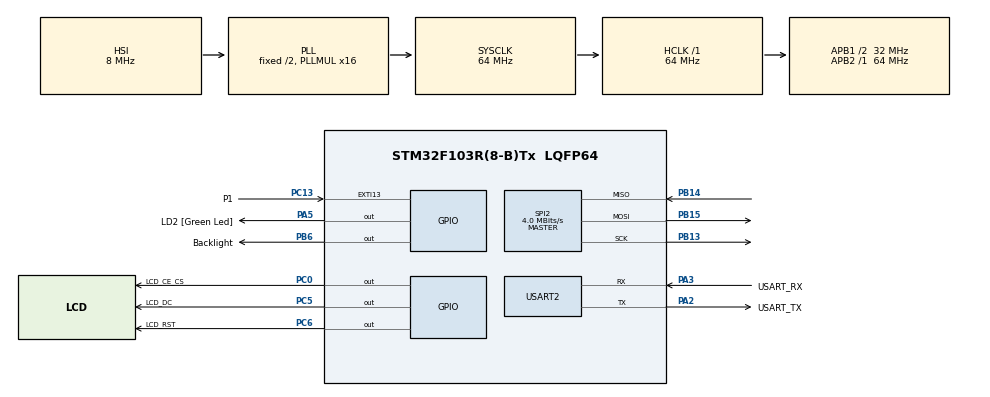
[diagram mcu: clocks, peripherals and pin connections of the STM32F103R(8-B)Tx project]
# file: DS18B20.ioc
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Mcu.Family=STM32F1
Mcu.Name=STM32F103R(8-B)Tx
Mcu.Package=LQFP64
NVIC.EXTI15_10_IRQn=true\:0\:0\:false\:false\:true\:true\:true
NVIC.PriorityGroup=NVIC_PRIORITYGROUP_4
PA13.GPIO_Label=TMS
PA13.Mode=Serial_Wire
PA13.Signal=SYS_JTMS-SWDIO
PA14.GPIO_Label=TCK
PA14.Mode=Serial_Wire
PA14.Signal=SYS_JTCK-SWCLK
PA2.GPIO_Label=USART_TX
PA2.GPIO_Mode=GPIO_MODE_AF_PP
PA2.GPIO_PuPd=GPIO_NOPULL
PA2.GPIO_Speed=GPIO_SPEED_FREQ_LOW
PA2.Mode=Asynchronous
PA2.Signal=USART2_TX
PA3.GPIO_Label=USART_RX
PA3.GPIO_Mode=GPIO_MODE_AF_PP
PA3.GPIO_PuPd=GPIO_NOPULL
PA3.GPIO_Speed=GPIO_SPEED_FREQ_LOW
PA3.Mode=Asynchronous
PA3.Signal=USART2_RX
PA5.GPIO_Label=LD2 [Green Led]
PA5.GPIO_ModeDefaultOutputPP=GPIO_MODE_OUTPUT_PP
PA5.GPIO_PuPd=GPIO_NOPULL
PA5.GPIO_Speed=GPIO_SPEED_FREQ_LOW
PA5.Signal=GPIO_Output
PB13.Mode=Full_Duplex_Master
PB13.Signal=SPI2_SCK
PB14.Mode=Full_Duplex_Master
PB14.Signal=SPI2_MISO
PB15.Mode=Full_Duplex_Master
PB15.Signal=SPI2_MOSI
PB3.GPIO_Label=SWO
PB3.Signal=SYS_JTDO-TRACESWO
PB4.GPIO_Label=DS18B20
PB4.Signal=S_TIM3_CH1
PB6.GPIO_Label=Backlight
PB6.GPIO_PuPd=GPIO_NOPULL
PB6.Signal=GPIO_Output
PC0.GPIO_Label=LCD_CE_CS
PC0.Signal=GPIO_Output
PC13-TAMPER-RTC.GPIO_Label=P1
PC13-TAMPER-RTC.GPIO_ModeDefaultEXTI=GPIO_MODE_IT_FALLING
PC13-TAMPER-RTC.Signal=GPXTI13
PC14-OSC32_IN.Mode=LSE-External-Oscillator
PC14-OSC32_IN.Signal=RCC_OSC32_IN
PC15-OSC32_OUT.Mode=LSE-External-Oscillator
PC15-OSC32_OUT.Signal=RCC_OSC32_OUT
PC5.GPIO_Label=LCD_DC
PC5.Signal=GPIO_Output
PC6.GPIO_Label=LCD_RST
PC6.Signal=GPIO_Output
PD0-OSC_IN.Mode=HSE-External-Clock-Source
PD0-OSC_IN.Signal=RCC_OSC_IN
PD1-OSC_OUT.Mode=HSE-External-Clock-Source
PD1-OSC_OUT.Signal=RCC_OSC_OUT
ProjectManager.HeapSize=0x200
ProjectManager.StackSize=0x400
ProjectManager.TargetToolchain=STM32CubeIDE
RCC.AHBFreq_Value=64000000
RCC.APB1CLKDivider=RCC_HCLK_DIV2
RCC.APB1Freq_Value=32000000
RCC.APB1TimFreq_Value=64000000
RCC.APB2Freq_Value=64000000
RCC.APB2TimFreq_Value=64000000
RCC.HCLKFreq_Value=64000000
RCC.PLLMUL=RCC_PLL_MUL16
RCC.RTCClockSelection=RCC_RTCCLKSOURCE_LSE
RCC.SYSCLKFreq_VALUE=64000000
RCC.SYSCLKSource=RCC_SYSCLKSOURCE_PLLCLK
RCC.USBFreq_Value=64000000
RTC.Date=27
RTC.Hours=12
RTC.Minutes=50
RTC.Month=RTC_MONTH_DECEMBER
RTC.WeekDay=RTC_WEEKDAY_SUNDAY
RTC.Year=20
SH.S_TIM3_CH1.0=TIM3_CH1
SPI2.BaudRatePrescaler=SPI_BAUDRATEPRESCALER_8
SPI2.CalculateBaudRate=4.0 MBits/s
SPI2.Direction=SPI_DIRECTION_2LINES
SPI2.Mode=SPI_MODE_MASTER
SPI2.VirtualType=VM_MASTER
TIM3.AutoReloadPreload=TIM_AUTORELOAD_PRELOAD_ENABLE
TIM3.Channel-Output\ Compare1\ No\ Output=TIM_CHANNEL_1
TIM3.Period=65535
TIM3.Prescaler=63
USART2.VirtualMode=VM_ASYNC
VP_RTC_No_RTC_Output.Mode=RTC_OUT_NO
VP_RTC_VS_RTC_Activate.Mode=RTC_Enabled
VP_RTC_VS_RTC_Calendar.Mode=RTC_Calendar
VP_TIM3_VS_no_output1.Mode=Output Compare1 No Output
board=NUCLEO-F103RB

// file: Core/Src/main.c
/* USER CODE BEGIN Header */
/**
  ******************************************************************************
  * @file           : main.c
  * @brief          : Main program body
  ******************************************************************************
  * @attention
  *
  * <h2><center>&copy; Copyright (c) 2020 STMicroelectronics.
  * All rights reserved.</center></h2>
  *
  * This software component is licensed by ST under BSD 3-Clause license,
  * the "License"; You may not use this file except in compliance with the
  * License. You may obtain a copy of the License at:
  *                        opensource.org/licenses/BSD-3-Clause
  *
  ******************************************************************************
  */
/* USER CODE END Header */
#include "main.h"
#include "rtc.h"
#include "spi.h"
#include "tim.h"
#include "usart.h"
#include "gpio.h"

/* USER CODE BEGIN Includes */
#include "ds18b20.h"
#include "onewire.h"
#include <stdio.h>
#include <string.h>
#include "spi.h"
#include "lcd.h"
#include "font.h"
/* USER CODE END Includes */

/* USER CODE BEGIN PV */
float temperature;
char komunikat[20];
char buffer[8];
char buffer2[] = "test";
int test_val = 7;
uint8_t DeinitDelay = 0;
uint8_t P1_flag = 0;

RTC_TimeTypeDef RtcTime;
RTC_DateTypeDef RtcDate;
uint8_t CompareSeconds;
char RtcPrint[20];
/* USER CODE END PV */

void SystemClock_Config(void);
/* USER CODE BEGIN PFP */
void lcd_reset(void)
{
	HAL_GPIO_WritePin(GPIOC, LCD_RST_Pin, GPIO_PIN_RESET);
	HAL_GPIO_WritePin(GPIOC, LCD_RST_Pin, GPIO_PIN_SET);
}

void lcd_data(const uint8_t* data, int size)
{
	HAL_GPIO_WritePin(GPIOC, LCD_DC_Pin, GPIO_PIN_SET);
	HAL_GPIO_WritePin(GPIOC, LCD_CE_CS_Pin, GPIO_PIN_RESET);
	HAL_SPI_Transmit(&hspi2, (uint8_t*)data, size, HAL_MAX_DELAY);
	HAL_GPIO_WritePin(GPIOC, LCD_CE_CS_Pin, GPIO_PIN_SET);
}

/* USER CODE END PFP */

int main(void)
{

  /* MCU Configuration--------------------------------------------------------*/

  /* Reset of all peripherals, Initializes the Flash interface and the Systick. */
  HAL_Init();

  /* Configure the system clock */
  SystemClock_Config();

  /* Initialize all configured peripherals */
  MX_GPIO_Init();
  MX_USART2_UART_Init();
  MX_TIM3_Init();
  MX_SPI2_Init();
  MX_RTC_Init();
  /* USER CODE BEGIN 2 */

  //-----------INICJALIZACJA PARAMETRÓW DS18B20-----------------
  DS18B20_Init(DS18B20_Resolution_12bits);	//rozdzielczość 10 bit (dokładność 0,25 C)
  HAL_Delay(1000);		//odczekaj po inicjalizacji czujnika temperatury - KONIECZNE!!!

//  lcd_cmd(0x80 | 0x3f); //Ustawienie kontrastu
/*============WYCI�?CIE 2===============================
 * ====================================================

  HAL_GPIO_WritePin(Backlight_GPIO_Port, Backlight_Pin, GPIO_PIN_SET);	//włączenie podświetlenia

  //----------------------------------------------
  //==============================================
  HAL_Delay(1000);		//odczekaj po inicjalizacji czujnika temperatury - KONIECZNE!!!
  DS18B20_ReadAll();	//odczytanie skonwertowanej temperatury do odpowiednich elementów w tablicy czujników
  DS18B20_StartAll();	//rozesłanie do wszystkich podłączonych czujników komendy startu konwersji temperatury
  uint8_t i;
  for (i=0; i < DS18B20_Quantity(); i++)
  {
	  if (DS18B20_GetTemperature(i, &temperature))

//		  DS18B20_Read(0, &temperature);	//nie działa

//		  DS18B20_GetROM(i, ROM_tmp);
//		  memset(komunikat, 0, sizeof(komunikat));
	  sprintf(komunikat, "Temp: %.2f \n\r", temperature);
	  lcd_draw_text(1,2, "Temp: ");

	  sprintf(buffer, "%.2f", temperature);
	  lcd_draw_text(1, 35, (uint8_t *)buffer);

	  lcd_draw_text(1, 68, "C");

	  HAL_RTC_GetTime(&hrtc, &RtcTime, RTC_FORMAT_BIN);
	  HAL_RTC_GetDate(&hrtc, &RtcDate, RTC_FORMAT_BIN);

	  if(RtcTime.Seconds != CompareSeconds)		//sprawia, że czas i data aktualizuje się na wyświetlaczu co sekundę
	  	  {
		  sprintf(RtcPrint, "%02d:%02d:%02d \n\r", RtcTime.Hours, RtcTime.Minutes, RtcTime.Seconds);
		  lcd_draw_text(3, 2, (uint8_t *)RtcPrint);
		  sprintf(RtcPrint, "%02d.%02d.20%02d\n\r", RtcDate.Date, RtcDate.Month, RtcDate.Year);
		  lcd_draw_text(4, 2, (uint8_t *)RtcPrint);
		  HAL_UART_Transmit(&huart2, (uint8_t*) RtcPrint, sizeof(RtcPrint), 1000);
		  CompareSeconds = RtcTime.Seconds;
	  	  }

//		  lcd_draw_text(2, 35, (uint8_t *)buffer2));		//wyświetla "test"
//	  }
	  lcd_copy();
	  HAL_UART_Transmit(&huart2, (uint8_t *)komunikat, sizeof(komunikat), 100);
	  HAL_UART_Transmit(&huart2, (uint8_t *)buffer2, sizeof(buffer2), 100);
	  HAL_Delay(10000);
	lcd_deinit();
	HAL_GPIO_WritePin(Backlight_GPIO_Port, Backlight_Pin, GPIO_PIN_RESET);	//wyłączenie podświetlenia
  }

//==============WYCI�?CIE 2=========================
//-----------------------------------------------*/

  /* USER CODE END 2 */

  /* Infinite loop */
  /* USER CODE BEGIN WHILE */
  while (1)
  {
	  lcd_setup();
	  lcd_clear();
	  DS18B20_ReadAll();	//odczytanie skonwertowanej temperatury do odpowiednich elementów w tablicy czujników
	  DS18B20_StartAll();	//rozesłanie do wszystkich podłączonych czujników komendy startu konwersji temperatury
	  HAL_Delay(1000);		//odczekaj po inicjalizacji czujnika temperatury - KONIECZNE!!!

		  while (P1_flag == 1)
		  {
			  HAL_GPIO_WritePin(Backlight_GPIO_Port, Backlight_Pin, GPIO_PIN_SET);	//włączenie podświetlenia

			  //----------------------------------------------
			  //==============================================

//			  P1_flag = 0;
			  uint8_t i;
			  HAL_RTC_GetTime(&hrtc, &RtcTime, RTC_FORMAT_BIN);
			  HAL_RTC_GetDate(&hrtc, &RtcDate, RTC_FORMAT_BIN);

			  if(RtcTime.Seconds != CompareSeconds)		//sprawia, że czas i data aktualizuje się na wyświetlaczu co sekundę
				  {
				  lcd_clear();
				  for (i=0; i < DS18B20_Quantity(); i++)
					  {
						  if (DS18B20_GetTemperature(i, &temperature))

					//		  DS18B20_Read(0, &temperature);	//nie działa

					//		  DS18B20_GetROM(i, ROM_tmp);
					//		  memset(komunikat, 0, sizeof(komunikat));
						  sprintf(komunikat, "Temp: %.2f ", temperature);
						  lcd_draw_text(1,2, "Temp: ");

						  sprintf(buffer, "%.2f", temperature);
						  lcd_draw_text(1, 35, (uint8_t *)buffer);

						  lcd_draw_text(1, 68, "C");
					  }

					sprintf(RtcPrint, "%02d:%02d:%02d ", RtcTime.Hours, RtcTime.Minutes, RtcTime.Seconds);
					lcd_draw_text(3, 2, (uint8_t *)RtcPrint);
					HAL_UART_Transmit(&huart2, (uint8_t *) RtcPrint, sizeof(RtcPrint), 100);
					sprintf(RtcPrint, "%02d.%02d.20%02d", RtcDate.Date, RtcDate.Month, RtcDate.Year);
					lcd_draw_text(5, 20, (uint8_t *)RtcPrint);
					HAL_UART_Transmit(&huart2, (uint8_t*) RtcPrint, sizeof(RtcPrint), 1000);

			//		  lcd_draw_text(2, 35, (uint8_t *)buffer2));		//wyświetla "test"
			//	  }
					  lcd_copy();
					  DeinitDelay++;
					  HAL_UART_Transmit(&huart2, (uint8_t *)komunikat, sizeof(komunikat), 100);
					  HAL_UART_Transmit(&huart2, (uint8_t *)buffer, sizeof(buffer), 100);
				  //HAL_Delay(10000);
					  if (DeinitDelay >10)
						  {
						  lcd_deinit();
						  HAL_GPIO_WritePin(Backlight_GPIO_Port, Backlight_Pin, GPIO_PIN_RESET);	//wyłączenie podświetlenia
						  DeinitDelay = 0;
						  P1_flag = 0;
						  }
				  	  CompareSeconds = RtcTime.Seconds;

				  }

			  }

	  }

/*	-------WYCI�?CIE 1-------------
	  DS18B20_ReadAll();	//odczytanie skonwertowanej temperatury do odpowiednich elementów w tablicy czujników
	  DS18B20_StartAll();	//rozesłanie do wszystkich podłączonych czujników komendy startu konwersji temperatury
	  uint8_t i;
	  for (i=0; i < DS18B20_Quantity(); i++)
      {
		  if (DS18B20_GetTemperature(i, &temperature))
		  {
//		  DS18B20_GetROM(i, ROM_tmp);
//		  memset(komunikat, 0, sizeof(komunikat));
		  sprintf(komunikat, "Temp: %.2f \n\r", temperature);
		  lcd_draw_text(2,2, "Temp: ");

		  sprintf(buffer, "%.2f", temperature);
		  lcd_draw_text(2, 35, (uint8_t *)buffer);

		  lcd_draw_text(2, 68, "C");

//		  lcd_draw_text(2, 35, (uint8_t *)buffer2));		//wyświetla "test"
		  }
		  lcd_copy();
		  HAL_UART_Transmit(&huart2, (uint8_t *)komunikat, sizeof(komunikat), 100);
		  HAL_UART_Transmit(&huart2, (uint8_t *)buffer2, sizeof(buffer2), 100);
		  HAL_Delay(1000);

	  }
	--------WYCI�?CIE 1----------------*/

    /* USER CODE END WHILE */

}

void SystemClock_Config(void)
{
  RCC_OscInitTypeDef RCC_OscInitStruct = {0};
  RCC_ClkInitTypeDef RCC_ClkInitStruct = {0};
  RCC_PeriphCLKInitTypeDef PeriphClkInit = {0};

  /** Initializes the RCC Oscillators according to the specified parameters
  * in the RCC_OscInitTypeDef structure.
  */
  RCC_OscInitStruct.OscillatorType = RCC_OSCILLATORTYPE_HSI|RCC_OSCILLATORTYPE_LSE;
  RCC_OscInitStruct.LSEState = RCC_LSE_ON;
  RCC_OscInitStruct.HSIState = RCC_HSI_ON;
  RCC_OscInitStruct.HSICalibrationValue = RCC_HSICALIBRATION_DEFAULT;
  RCC_OscInitStruct.PLL.PLLState = RCC_PLL_ON;
  RCC_OscInitStruct.PLL.PLLSource = RCC_PLLSOURCE_HSI_DIV2;
  RCC_OscInitStruct.PLL.PLLMUL = RCC_PLL_MUL16;
  if (HAL_RCC_OscConfig(&RCC_OscInitStruct) != HAL_OK)
  {
    Error_Handler();
  }
  /** Initializes the CPU, AHB and APB buses clocks
  */
  RCC_ClkInitStruct.ClockType = RCC_CLOCKTYPE_HCLK|RCC_CLOCKTYPE_SYSCLK
                              |RCC_CLOCKTYPE_PCLK1|RCC_CLOCKTYPE_PCLK2;
  RCC_ClkInitStruct.SYSCLKSource = RCC_SYSCLKSOURCE_PLLCLK;
  RCC_ClkInitStruct.AHBCLKDivider = RCC_SYSCLK_DIV1;
  RCC_ClkInitStruct.APB1CLKDivider = RCC_HCLK_DIV2;
  RCC_ClkInitStruct.APB2CLKDivider = RCC_HCLK_DIV1;

  if (HAL_RCC_ClockConfig(&RCC_ClkInitStruct, FLASH_LATENCY_2) != HAL_OK)
  {
    Error_Handler();
  }
  PeriphClkInit.PeriphClockSelection = RCC_PERIPHCLK_RTC;
  PeriphClkInit.RTCClockSelection = RCC_RTCCLKSOURCE_LSE;
  if (HAL_RCCEx_PeriphCLKConfig(&PeriphClkInit) != HAL_OK)
  {
    Error_Handler();
  }
}

/* USER CODE BEGIN 4 */
void HAL_GPIO_EXTI_Callback(uint16_t GPIO_Pin)
{
	if (GPIO_Pin == P1_Pin)
	{
		P1_flag = 1;
	}

}
/* USER CODE END 4 */

void Error_Handler(void)
{
}

/************************ (C) COPYRIGHT STMicroelectronics *****END OF FILE****/
